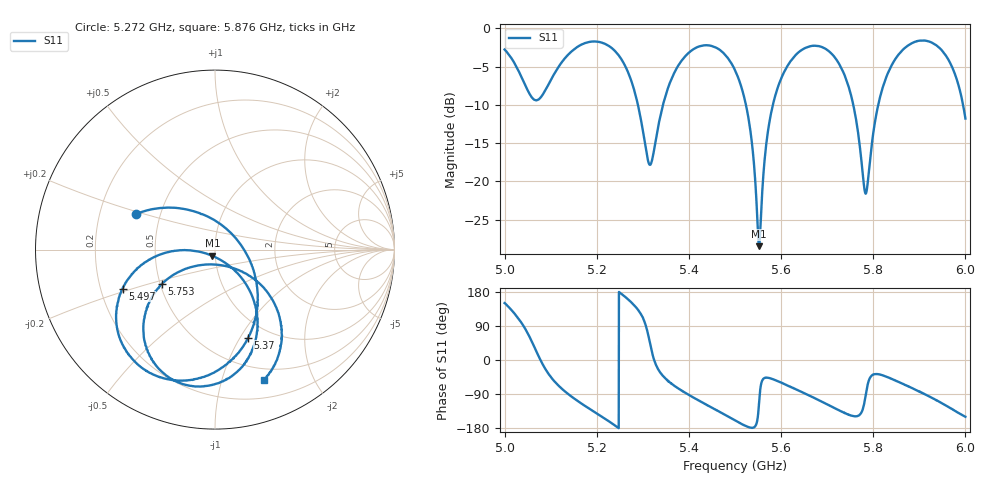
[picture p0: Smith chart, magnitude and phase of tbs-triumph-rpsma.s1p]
# HZ S RI R 50
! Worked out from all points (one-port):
!   2020 points, 5 GHz to 6 GHz, reference 50 ohm
!   lowest |S11| = -28.5 dB at 5.552 GHz (marker M1), VSWR 1.08, Z = 48.4 - j3.36 ohm
!   |S11| at or under -10 dB: 5.289 GHz to 5.344 GHz (54.36 MHz wide, 1.02 % of centre); 5.524 GHz to 5.582 GHz (58.46 MHz wide, 1.05 % of centre); 5.757 GHz to 5.811 GHz (54.14 MHz wide, 0.936 % of centre)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
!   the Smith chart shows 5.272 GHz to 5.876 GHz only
!   S11 on the Smith chart (normalised r, x): 5.272 GHz: 0.36, +0.19; 5.37 GHz: 0.80, -1.08; 5.497 GHz: 0.29, -0.19; 5.753 GHz: 0.51, -0.22; 5.876 GHz: 0.38, -1.37
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5e9  -0.6329 0.3601
5.033185e9  -0.1233 0.4911
5.069341e9  0.3149 0.1246
5.12531e9  0.1365 -0.5923
5.178306e9  -0.4559 -0.6682
5.216939e9  -0.7164 -0.3462
5.250124e9  -0.6507 0.0297
5.271917e9  -0.439 0.1986
5.315503e9  0.0915 0.0898
5.369985e9  0.1849 -0.4912
5.375434e9  0.1563 -0.54
5.430411e9  -0.3017 -0.7121
5.496781e9  -0.5151 -0.2171
5.500248e9  -0.4986 -0.1848
5.531452e9  -0.2351 -0.0086
5.552254e9  -0.0147 -0.0347
5.578009e9  0.182 -0.2084
5.625062e9  0.1803 -0.6101
5.681031e9  -0.2078 -0.7386
5.750372e9  -0.3137 -0.2146
5.753344e9  -0.2944 -0.1895
5.784052e9  0.000525 -0.0834
5.819713e9  0.308 -0.26
5.875186e9  0.2753 -0.7218
5.875682e9  0.2704 -0.7254
5.930164e9  -0.1608 -0.7835
5.966816e9  -0.3538 -0.4791
6.000001e9  -0.2224 -0.1296
